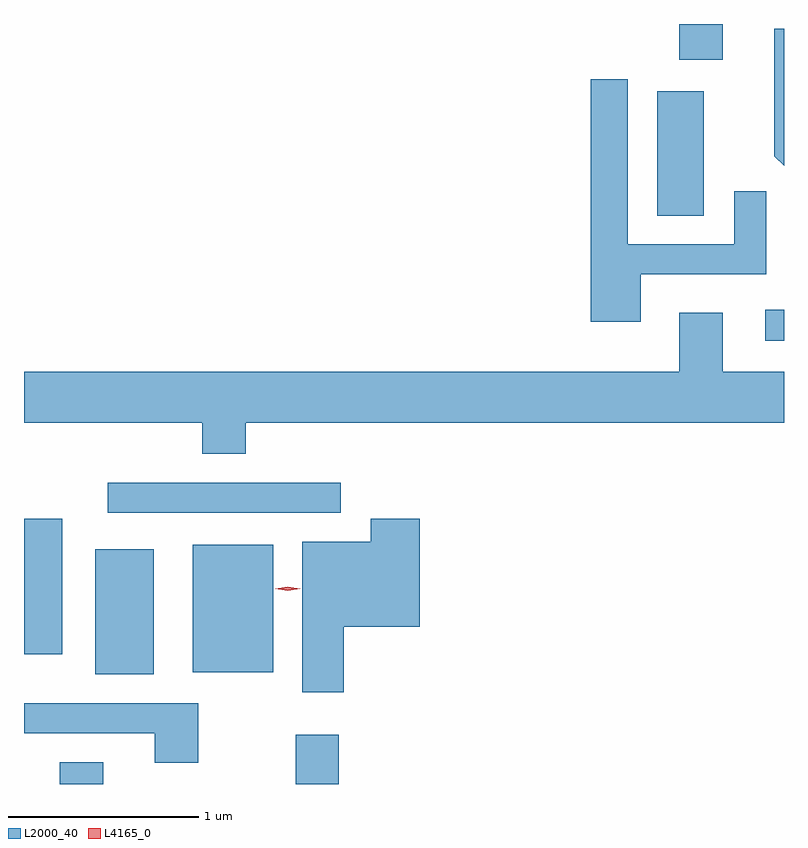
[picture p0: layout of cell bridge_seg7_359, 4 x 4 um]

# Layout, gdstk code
import gdstk
lib = gdstk.Library(unit=1e-6, precision=1e-09)
def R(c, l, rs):  # rectangles x0, y0, x1, y1
    for r in rs: c.add(gdstk.rectangle(r[:2], r[2:], *l))
def P(c, l, *ps):  # polygons
    for p in ps: c.add(gdstk.Polygon(p, *l))
L2000_40 = (2000, 40)
L4165_0 = (4165, 0)

bridge_seg7_359 = lib.new_cell('bridge_seg7_359')
R(bridge_seg7_359, L2000_40, [(1189.321,1750.154,1189.549,1750.269), (1190.561,1750.154,1190.789,1750.414), (1189.506,1750.731,1189.814,1751.389), (1190.021,1750.741,1190.444,1751.414), (1189.132,1750.836,1189.334,1751.549), (1189.573,1751.581,1190.798,1751.739), (1193.033,1752.486,1193.132,1752.649), (1192.466,1753.146,1192.709,1753.799), (1192.581,1753.966,1192.809,1754.154)])
P(bridge_seg7_359, L2000_40, [(1193.132,1754.128),(1193.081,1754.128),(1193.081,1753.459),(1193.132,1753.408)],
  [(1192.379,1752.836),(1193.039,1752.836),(1193.039,1753.273),(1192.871,1753.273),(1192.871,1752.994),(1192.309,1752.994),(1192.309,1753.864),(1192.116,1753.864),(1192.116,1752.586),(1192.379,1752.586)],
  [(1190.299,1752.056),(1193.132,1752.056),(1193.132,1752.324),(1192.809,1752.324),(1192.809,1752.634),(1192.581,1752.634),(1192.581,1752.324),(1189.132,1752.324),(1189.132,1752.056),(1190.071,1752.056),(1190.071,1751.891),(1190.299,1751.891)],
  [(1190.814,1750.981),(1191.214,1750.981),(1191.214,1751.549),(1190.956,1751.549),(1190.956,1751.429),(1190.596,1751.429),(1190.596,1750.636),(1190.814,1750.636)],
  [(1190.049,1750.579),(1189.132,1750.579),(1189.132,1750.421),(1189.821,1750.421),(1189.821,1750.266),(1190.049,1750.266)])
P(bridge_seg7_359, L4165_0, [(1190.52,1751.171),(1190.454,1751.181),(1190.454,1751.181),(1190.454,1751.182),(1190.52,1751.191),(1190.586,1751.182),(1190.587,1751.181),(1190.586,1751.181)])

lib.write_gds('bridge_seg7_359.gds')
